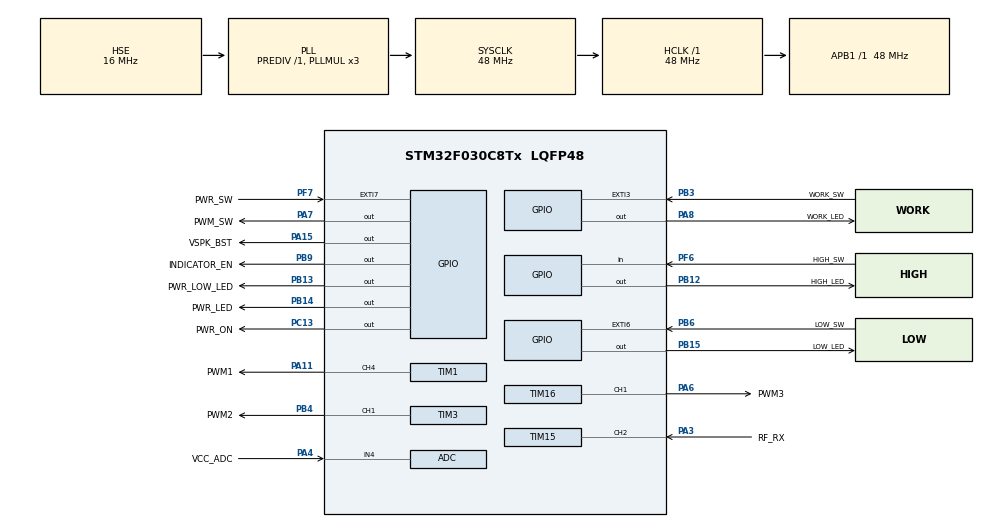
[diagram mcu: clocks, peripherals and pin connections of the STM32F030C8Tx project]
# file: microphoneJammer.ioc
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ADC.ContinuousConvMode=ENABLE
ADC.DMAContinuousRequests=ENABLE
ADC.EnableAnalogWatchDog=false
ADC.ExternalTrigConv=ADC_EXTERNALTRIGCONV_T1_TRGO
ADC.SamplingTime=ADC_SAMPLETIME_239CYCLES_5
Dma.ADC.0.Direction=DMA_PERIPH_TO_MEMORY
Dma.ADC.0.Instance=DMA1_Channel1
Dma.ADC.0.MemDataAlignment=DMA_MDATAALIGN_HALFWORD
Dma.ADC.0.MemInc=DMA_MINC_ENABLE
Dma.ADC.0.Mode=DMA_CIRCULAR
Dma.ADC.0.PeriphDataAlignment=DMA_PDATAALIGN_HALFWORD
Dma.ADC.0.PeriphInc=DMA_PINC_DISABLE
Dma.ADC.0.Priority=DMA_PRIORITY_LOW
Dma.Request0=ADC
Mcu.Family=STM32F0
Mcu.Name=STM32F030C8Tx
Mcu.Package=LQFP48
NVIC.ADC1_IRQn=true\:0\:0\:false\:false\:true\:true\:true\:true
NVIC.DMA1_Channel1_IRQn=true\:0\:0\:false\:false\:true\:false\:true\:true
NVIC.EXTI2_3_IRQn=true\:0\:0\:false\:false\:true\:true\:true\:true
NVIC.EXTI4_15_IRQn=true\:0\:0\:false\:false\:true\:true\:true\:true
NVIC.TIM14_IRQn=true\:0\:0\:false\:false\:true\:true\:true\:true
NVIC.TIM15_IRQn=true\:0\:0\:true\:false\:true\:true\:true\:true
PA11.GPIO_Label=PWM1
PA11.Signal=S_TIM1_CH4
PA13.Mode=Serial_Wire
PA13.Signal=SYS_SWDIO
PA14.Mode=Serial_Wire
PA14.Signal=SYS_SWCLK
PA15.GPIO_Label=VSPK_BST
PA15.Signal=GPIO_Output
PA3.GPIO_Label=RF_RX
PA3.Signal=S_TIM15_CH2
PA4.GPIO_Label=VCC_ADC
PA4.Mode=IN4
PA4.Signal=ADC_IN4
PA6.GPIO_Label=PWM3
PA6.Signal=S_TIM16_CH1
PA7.GPIO_Label=PWM_SW
PA7.Signal=GPIO_Output
PA8.GPIO_Label=WORK_LED
PA8.Signal=GPIO_Output
PB12.GPIO_Label=HIGH_LED
PB12.Signal=GPIO_Output
PB13.GPIO_Label=PWR_LOW_LED
PB13.Signal=GPIO_Output
PB14.GPIO_Label=PWR_LED
PB14.GPIO_PuPd=GPIO_PULLDOWN
PB14.Signal=GPIO_Output
PB15.GPIO_Label=LOW_LED
PB15.Signal=GPIO_Output
PB3.GPIO_Label=WORK_SW
PB3.GPIO_ModeDefaultEXTI=GPIO_MODE_IT_FALLING
PB3.Signal=GPXTI3
PB4.GPIO_Label=PWM2
PB4.Signal=S_TIM3_CH1
PB6.GPIO_Label=LOW_SW
PB6.GPIO_ModeDefaultEXTI=GPIO_MODE_IT_FALLING
PB6.Signal=GPXTI6
PB9.GPIO_Label=INDICATOR_EN
PB9.PinState=GPIO_PIN_RESET
PB9.Signal=GPIO_Output
PC13.GPIO_Label=PWR_ON
PC13.PinState=GPIO_PIN_RESET
PC13.Signal=GPIO_Output
PF0-OSC_IN.Mode=HSE-External-Oscillator
PF0-OSC_IN.Signal=RCC_OSC_IN
PF1-OSC_OUT.Mode=HSE-External-Oscillator
PF1-OSC_OUT.Signal=RCC_OSC_OUT
PF6.GPIO_Label=HIGH_SW
PF6.Signal=GPIO_Input
PF7.GPIO_Label=PWR_SW
PF7.GPIO_ModeDefaultEXTI=GPIO_MODE_IT_FALLING
PF7.Signal=GPXTI7
ProjectManager.HeapSize=0x200
ProjectManager.StackSize=0x400
ProjectManager.TargetToolchain=CMake
RCC.AHBFreq_Value=48000000
RCC.APB1Freq_Value=48000000
RCC.APB1TimFreq_Value=48000000
RCC.EnbaleCSS=true
RCC.HCLKFreq_Value=48000000
RCC.HSE_VALUE=16000000
RCC.PLLMUL=RCC_PLL_MUL3
RCC.PLLSourceVirtual=RCC_PLLSOURCE_HSE
RCC.SYSCLKFreq_VALUE=48000000
RCC.SYSCLKSource=RCC_SYSCLKSOURCE_PLLCLK
SH.S_TIM15_CH2.0=TIM15_CH2,Input_Capture2_from_TI2
SH.S_TIM16_CH1.0=TIM16_CH1,PWM Generation1 CH1
SH.S_TIM1_CH4.0=TIM1_CH4,PWM Generation4 CH4
SH.S_TIM3_CH1.0=TIM3_CH1,PWM Generation1 CH1
TIM1.AutoReloadPreload=TIM_AUTORELOAD_PRELOAD_ENABLE
TIM1.Channel-PWM\ Generation4\ CH4=TIM_CHANNEL_4
TIM1.Period=1442
TIM1.Prescaler=0
TIM1.Pulse-PWM\ Generation4\ CH4=721
TIM1.TIM_MasterOutputTrigger=TIM_TRGO_UPDATE
TIM14.AutoReloadPreload=TIM_AUTORELOAD_PRELOAD_ENABLE
TIM14.Period=999
TIM14.Prescaler=47
TIM15.AutoReloadPreload=TIM_AUTORELOAD_PRELOAD_ENABLE
TIM15.Channel-Input_Capture2_from_TI2=TIM_CHANNEL_2
TIM15.ICPolarity_CH2=TIM_INPUTCHANNELPOLARITY_BOTHEDGE
TIM15.Period=65535
TIM15.Prescaler=47
TIM16.AutoReloadPreload=TIM_AUTORELOAD_PRELOAD_ENABLE
TIM16.Channel=TIM_CHANNEL_1
TIM16.Period=1433
TIM16.Pulse=716
TIM3.AutoReloadPreload=TIM_AUTORELOAD_PRELOAD_ENABLE
TIM3.Channel-PWM\ Generation1\ CH1=TIM_CHANNEL_1
TIM3.OCPolarity_1=TIM_OCPOLARITY_HIGH
TIM3.Period=1438
TIM3.Pulse-PWM\ Generation1\ CH1=719
VP_TIM14_VS_ClockSourceINT.Mode=Enable_Timer
VP_TIM15_VS_ClockSourceINT.Mode=Internal
VP_TIM16_VS_ClockSourceINT.Mode=Enable_Timer
VP_TIM1_VS_ClockSourceINT.Mode=Internal
board=custom

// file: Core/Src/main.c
/* USER CODE BEGIN Header */
/**
 ******************************************************************************
 * @file           : main.c
 * @brief          : Main program body
 ******************************************************************************
 * @attention
 *
 * Copyright (c) 2026 STMicroelectronics.
 * All rights reserved.
 *
 * This software is licensed under terms that can be found in the LICENSE file
 * in the root directory of this software component.
 * If no LICENSE file comes with this software, it is provided AS-IS.
 *
 ******************************************************************************
 */
/* USER CODE END Header */
#include "main.h"

/* USER CODE BEGIN Includes */
#include <stdlib.h>
/* USER CODE END Includes */

/* USER CODE BEGIN PTD */
typedef enum { PWR_SW = 1, WORK_SW, LOW_SW, HIGH_SW, START_SW, STOP_SW } key_t;
typedef struct {
  GPIO_PinState work;
  GPIO_PinState high;
  GPIO_PinState low;
} state_t;
/* USER CODE END PTD */

/* USER CODE BEGIN PD */
#define SAMPLE_WINDOW 120

// 9v / (3.28v / 4096) * [10k / (53.6k + 10k)] ≈ 1767
#define PWR_LOW_RAW 1720       // 为了对应电量显示模块的 0%
#define PWR_LOW_RAW_SUM 206400 // PWR_LOW_RAW * SAMPLE_WINDOW
#define PWR_LOW_RAW_SUM_2                                                      \
  216400 // PWR_LOW_RAW * SAMPLE_WINDOW + 10000 为了防止反复横跳

#define EV1527_SYNC_MIN 6000       // 同步码低电平最小 (us)
#define EV1527_SYNC_MAX 20000      // 同步码低电平最大 (us)
#define EV1527_BIT_TOTAL_MIN 800   // 一个位(高+低)最小总时间 (us)
#define EV1527_BIT_TOTAL_MAX 2500  // 一个位(高+低)最大总时间 (us)
#define EV1527_FRAME_LEN 24        // 24位数据
#define PAIR_FLASH_ADDR 0x0800F800 // PAIR 在 Flash 中的地址

#define FREQ_SIZE 50

// #define TEST
/* USER CODE END PD */

ADC_HandleTypeDef hadc;
DMA_HandleTypeDef hdma_adc;

TIM_HandleTypeDef htim1;
TIM_HandleTypeDef htim3;
TIM_HandleTypeDef htim14;
TIM_HandleTypeDef htim15;
TIM_HandleTypeDef htim16;

/* USER CODE BEGIN PV */
key_t g_key = PWR_SW;
uint8_t autoSwOnce = 0;
uint32_t sysTickCnt = 0;
uint8_t blinked = 0, lastBlinked = 0;
uint8_t pwrlow = 0, pwrlow2 = 0, pwrOn = 0; // pwrlow 表示电量低
uint8_t bWorked = 0;
uint16_t adcBuf[SAMPLE_WINDOW] = {};

uint8_t g_pair = 0, g_cancelPair = 0, g_paired = 0;
state_t g_state = {0};
uint32_t g_remoteId = 0;

uint8_t pwmRun = 0;
/* USER CODE END PV */

void SystemClock_Config(void);
static void MX_GPIO_Init(void);
static void MX_DMA_Init(void);
static void MX_ADC_Init(void);
static void MX_TIM1_Init(void);
static void MX_TIM3_Init(void);
static void MX_TIM15_Init(void);
static void MX_TIM14_Init(void);
static void MX_TIM16_Init(void);
/* USER CODE BEGIN PFP */
void keyScan(void);
void stopWork(void);
void startWork(void);
uint8_t clearId();
uint32_t readId();
void recoverState();
void pwrSwitch(uint8_t bLow);
void offLeds();
void onLeds();
/* USER CODE END PFP */

int main(void) {

  /* MCU Configuration--------------------------------------------------------*/

  /* Reset of all peripherals, Initializes the Flash interface and the Systick.
   */
  HAL_Init();

  /* Configure the system clock */
  SystemClock_Config();

  /* Initialize all configured peripherals */
  MX_GPIO_Init();
  MX_DMA_Init();
  MX_ADC_Init();
  MX_TIM1_Init();
  MX_TIM3_Init();
  MX_TIM15_Init();
  MX_TIM14_Init();
  MX_TIM16_Init();
  /* USER CODE BEGIN 2 */
  g_remoteId = readId();
  if (g_remoteId != 0xFFFFFFFF) {
    g_paired = 1;
  }
  HAL_ADC_Start_DMA(&hadc, (uint32_t *)adcBuf, SAMPLE_WINDOW);
  HAL_TIM_Base_Start_IT(&htim14);
  HAL_TIM_IC_Start_IT(&htim15, TIM_CHANNEL_2);
  /* USER CODE END 2 */

  /* Infinite loop */
  /* USER CODE BEGIN WHILE */
  while (1) {
    if (pwrlow2) {
      pwrlow = 1;
      continue;
    }
    if (pwrOn && pwrlow) {
      static uint8_t bOnce;
      if (!bOnce) {
        bOnce = 1;
        blinked = 0;
        offLeds();
        HAL_GPIO_WritePin(PWR_LED_GPIO_Port, PWR_LED_Pin, GPIO_PIN_RESET);
      }
      if (pwmRun) {
        stopWork();
      }
      continue;
    }
    static uint8_t bOnce;
    if (blinked && (g_key != PWR_SW && g_key != WORK_SW && g_key != START_SW &&
                    g_key != STOP_SW)) {
      if (!bOnce) {
        bOnce = 1;
        sysTickCnt = 0;
      }
      if (sysTickCnt >= 600000) {
        HAL_GPIO_WritePin(PWR_ON_GPIO_Port, PWR_ON_Pin, GPIO_PIN_RESET);
      }
      continue;
    }
    bOnce = 0;
    keyScan();
    /* USER CODE END WHILE */

  }
}

void SystemClock_Config(void) {
  RCC_OscInitTypeDef RCC_OscInitStruct = {0};
  RCC_ClkInitTypeDef RCC_ClkInitStruct = {0};

  /** Initializes the RCC Oscillators according to the specified parameters
   * in the RCC_OscInitTypeDef structure.
   */
  RCC_OscInitStruct.OscillatorType =
      RCC_OSCILLATORTYPE_HSI14 | RCC_OSCILLATORTYPE_HSE;
  RCC_OscInitStruct.HSEState = RCC_HSE_ON;
  RCC_OscInitStruct.HSI14State = RCC_HSI14_ON;
  RCC_OscInitStruct.HSI14CalibrationValue = 16;
  RCC_OscInitStruct.PLL.PLLState = RCC_PLL_ON;
  RCC_OscInitStruct.PLL.PLLSource = RCC_PLLSOURCE_HSE;
  RCC_OscInitStruct.PLL.PLLMUL = RCC_PLL_MUL3;
  RCC_OscInitStruct.PLL.PREDIV = RCC_PREDIV_DIV1;
  if (HAL_RCC_OscConfig(&RCC_OscInitStruct) != HAL_OK) {
    Error_Handler();
  }

  /** Initializes the CPU, AHB and APB buses clocks
   */
  RCC_ClkInitStruct.ClockType =
      RCC_CLOCKTYPE_HCLK | RCC_CLOCKTYPE_SYSCLK | RCC_CLOCKTYPE_PCLK1;
  RCC_ClkInitStruct.SYSCLKSource = RCC_SYSCLKSOURCE_PLLCLK;
  RCC_ClkInitStruct.AHBCLKDivider = RCC_SYSCLK_DIV1;
  RCC_ClkInitStruct.APB1CLKDivider = RCC_HCLK_DIV1;

  if (HAL_RCC_ClockConfig(&RCC_ClkInitStruct, FLASH_LATENCY_1) != HAL_OK) {
    Error_Handler();
  }

  /** Enables the Clock Security System
   */
  HAL_RCC_EnableCSS();
}

static void MX_ADC_Init(void) {

  ADC_ChannelConfTypeDef sConfig = {0};

  /** Configure the global features of the ADC (Clock, Resolution, Data
   * Alignment and number of conversion)
   */
  hadc.Instance = ADC1;
  hadc.Init.ClockPrescaler = ADC_CLOCK_ASYNC_DIV1;
  hadc.Init.Resolution = ADC_RESOLUTION_12B;
  hadc.Init.DataAlign = ADC_DATAALIGN_RIGHT;
  hadc.Init.ScanConvMode = ADC_SCAN_DIRECTION_FORWARD;
  hadc.Init.EOCSelection = ADC_EOC_SINGLE_CONV;
  hadc.Init.LowPowerAutoWait = DISABLE;
  hadc.Init.LowPowerAutoPowerOff = DISABLE;
  hadc.Init.ContinuousConvMode = ENABLE;
  hadc.Init.DiscontinuousConvMode = DISABLE;
  hadc.Init.ExternalTrigConv = ADC_EXTERNALTRIGCONV_T1_TRGO;
  hadc.Init.ExternalTrigConvEdge = ADC_EXTERNALTRIGCONVEDGE_RISING;
  hadc.Init.DMAContinuousRequests = ENABLE;
  hadc.Init.Overrun = ADC_OVR_DATA_PRESERVED;
  if (HAL_ADC_Init(&hadc) != HAL_OK) {
    Error_Handler();
  }

  /** Configure for the selected ADC regular channel to be converted.
   */
  sConfig.Channel = ADC_CHANNEL_4;
  sConfig.Rank = ADC_RANK_CHANNEL_NUMBER;
  sConfig.SamplingTime = ADC_SAMPLETIME_239CYCLES_5;
  if (HAL_ADC_ConfigChannel(&hadc, &sConfig) != HAL_OK) {
    Error_Handler();
  }
}

static void MX_TIM1_Init(void) {

  TIM_ClockConfigTypeDef sClockSourceConfig = {0};
  TIM_MasterConfigTypeDef sMasterConfig = {0};
  TIM_OC_InitTypeDef sConfigOC = {0};
  TIM_BreakDeadTimeConfigTypeDef sBreakDeadTimeConfig = {0};

  htim1.Instance = TIM1;
  htim1.Init.Prescaler = 0;
  htim1.Init.CounterMode = TIM_COUNTERMODE_UP;
  htim1.Init.Period = 1442;
  htim1.Init.ClockDivision = TIM_CLOCKDIVISION_DIV1;
  htim1.Init.RepetitionCounter = 0;
  htim1.Init.AutoReloadPreload = TIM_AUTORELOAD_PRELOAD_ENABLE;
  if (HAL_TIM_Base_Init(&htim1) != HAL_OK) {
    Error_Handler();
  }
  sClockSourceConfig.ClockSource = TIM_CLOCKSOURCE_INTERNAL;
  if (HAL_TIM_ConfigClockSource(&htim1, &sClockSourceConfig) != HAL_OK) {
    Error_Handler();
  }
  if (HAL_TIM_PWM_Init(&htim1) != HAL_OK) {
    Error_Handler();
  }
  sMasterConfig.MasterOutputTrigger = TIM_TRGO_UPDATE;
  sMasterConfig.MasterSlaveMode = TIM_MASTERSLAVEMODE_DISABLE;
  if (HAL_TIMEx_MasterConfigSynchronization(&htim1, &sMasterConfig) != HAL_OK) {
    Error_Handler();
  }
  sConfigOC.OCMode = TIM_OCMODE_PWM1;
  sConfigOC.Pulse = 721;
  sConfigOC.OCPolarity = TIM_OCPOLARITY_HIGH;
  sConfigOC.OCFastMode = TIM_OCFAST_DISABLE;
  sConfigOC.OCIdleState = TIM_OCIDLESTATE_RESET;
  sConfigOC.OCNIdleState = TIM_OCNIDLESTATE_RESET;
  if (HAL_TIM_PWM_ConfigChannel(&htim1, &sConfigOC, TIM_CHANNEL_4) != HAL_OK) {
    Error_Handler();
  }
  sBreakDeadTimeConfig.OffStateRunMode = TIM_OSSR_DISABLE;
  sBreakDeadTimeConfig.OffStateIDLEMode = TIM_OSSI_DISABLE;
  sBreakDeadTimeConfig.LockLevel = TIM_LOCKLEVEL_OFF;
  sBreakDeadTimeConfig.DeadTime = 0;
  sBreakDeadTimeConfig.BreakState = TIM_BREAK_DISABLE;
  sBreakDeadTimeConfig.BreakPolarity = TIM_BREAKPOLARITY_HIGH;
  sBreakDeadTimeConfig.AutomaticOutput = TIM_AUTOMATICOUTPUT_DISABLE;
  if (HAL_TIMEx_ConfigBreakDeadTime(&htim1, &sBreakDeadTimeConfig) != HAL_OK) {
    Error_Handler();
  }
  HAL_TIM_MspPostInit(&htim1);
}

static void MX_TIM3_Init(void) {

  TIM_MasterConfigTypeDef sMasterConfig = {0};
  TIM_OC_InitTypeDef sConfigOC = {0};

  htim3.Instance = TIM3;
  htim3.Init.Prescaler = 0;
  htim3.Init.CounterMode = TIM_COUNTERMODE_UP;
  htim3.Init.Period = 1438;
  htim3.Init.ClockDivision = TIM_CLOCKDIVISION_DIV1;
  htim3.Init.AutoReloadPreload = TIM_AUTORELOAD_PRELOAD_ENABLE;
  if (HAL_TIM_PWM_Init(&htim3) != HAL_OK) {
    Error_Handler();
  }
  sMasterConfig.MasterOutputTrigger = TIM_TRGO_RESET;
  sMasterConfig.MasterSlaveMode = TIM_MASTERSLAVEMODE_DISABLE;
  if (HAL_TIMEx_MasterConfigSynchronization(&htim3, &sMasterConfig) != HAL_OK) {
    Error_Handler();
  }
  sConfigOC.OCMode = TIM_OCMODE_PWM1;
  sConfigOC.Pulse = 719;
  sConfigOC.OCPolarity = TIM_OCPOLARITY_HIGH;
  sConfigOC.OCFastMode = TIM_OCFAST_DISABLE;
  if (HAL_TIM_PWM_ConfigChannel(&htim3, &sConfigOC, TIM_CHANNEL_1) != HAL_OK) {
    Error_Handler();
  }
  HAL_TIM_MspPostInit(&htim3);
}

static void MX_TIM14_Init(void) {

  htim14.Instance = TIM14;
  htim14.Init.Prescaler = 47;
  htim14.Init.CounterMode = TIM_COUNTERMODE_UP;
  htim14.Init.Period = 999;
  htim14.Init.ClockDivision = TIM_CLOCKDIVISION_DIV1;
  htim14.Init.AutoReloadPreload = TIM_AUTORELOAD_PRELOAD_ENABLE;
  if (HAL_TIM_Base_Init(&htim14) != HAL_OK) {
    Error_Handler();
  }
}

static void MX_TIM15_Init(void) {

  TIM_ClockConfigTypeDef sClockSourceConfig = {0};
  TIM_MasterConfigTypeDef sMasterConfig = {0};
  TIM_IC_InitTypeDef sConfigIC = {0};

  htim15.Instance = TIM15;
  htim15.Init.Prescaler = 47;
  htim15.Init.CounterMode = TIM_COUNTERMODE_UP;
  htim15.Init.Period = 65535;
  htim15.Init.ClockDivision = TIM_CLOCKDIVISION_DIV1;
  htim15.Init.RepetitionCounter = 0;
  htim15.Init.AutoReloadPreload = TIM_AUTORELOAD_PRELOAD_ENABLE;
  if (HAL_TIM_Base_Init(&htim15) != HAL_OK) {
    Error_Handler();
  }
  sClockSourceConfig.ClockSource = TIM_CLOCKSOURCE_INTERNAL;
  if (HAL_TIM_ConfigClockSource(&htim15, &sClockSourceConfig) != HAL_OK) {
    Error_Handler();
  }
  if (HAL_TIM_IC_Init(&htim15) != HAL_OK) {
    Error_Handler();
  }
  sMasterConfig.MasterOutputTrigger = TIM_TRGO_RESET;
  sMasterConfig.MasterSlaveMode = TIM_MASTERSLAVEMODE_DISABLE;
  if (HAL_TIMEx_MasterConfigSynchronization(&htim15, &sMasterConfig) !=
      HAL_OK) {
    Error_Handler();
  }
  sConfigIC.ICPolarity = TIM_INPUTCHANNELPOLARITY_BOTHEDGE;
  sConfigIC.ICSelection = TIM_ICSELECTION_DIRECTTI;
  sConfigIC.ICPrescaler = TIM_ICPSC_DIV1;
  sConfigIC.ICFilter = 0;
  if (HAL_TIM_IC_ConfigChannel(&htim15, &sConfigIC, TIM_CHANNEL_2) != HAL_OK) {
    Error_Handler();
  }
}

static void MX_TIM16_Init(void) {

  TIM_OC_InitTypeDef sConfigOC = {0};
  TIM_BreakDeadTimeConfigTypeDef sBreakDeadTimeConfig = {0};

  htim16.Instance = TIM16;
  htim16.Init.Prescaler = 0;
  htim16.Init.CounterMode = TIM_COUNTERMODE_UP;
  htim16.Init.Period = 1433;
  htim16.Init.ClockDivision = TIM_CLOCKDIVISION_DIV1;
  htim16.Init.RepetitionCounter = 0;
  htim16.Init.AutoReloadPreload = TIM_AUTORELOAD_PRELOAD_ENABLE;
  if (HAL_TIM_Base_Init(&htim16) != HAL_OK) {
    Error_Handler();
  }
  if (HAL_TIM_PWM_Init(&htim16) != HAL_OK) {
    Error_Handler();
  }
  sConfigOC.OCMode = TIM_OCMODE_PWM1;
  sConfigOC.Pulse = 716;
  sConfigOC.OCPolarity = TIM_OCPOLARITY_HIGH;
  sConfigOC.OCNPolarity = TIM_OCNPOLARITY_HIGH;
  sConfigOC.OCFastMode = TIM_OCFAST_DISABLE;
  sConfigOC.OCIdleState = TIM_OCIDLESTATE_RESET;
  sConfigOC.OCNIdleState = TIM_OCNIDLESTATE_RESET;
  if (HAL_TIM_PWM_ConfigChannel(&htim16, &sConfigOC, TIM_CHANNEL_1) != HAL_OK) {
    Error_Handler();
  }
  sBreakDeadTimeConfig.OffStateRunMode = TIM_OSSR_DISABLE;
  sBreakDeadTimeConfig.OffStateIDLEMode = TIM_OSSI_DISABLE;
  sBreakDeadTimeConfig.LockLevel = TIM_LOCKLEVEL_OFF;
  sBreakDeadTimeConfig.DeadTime = 0;
  sBreakDeadTimeConfig.BreakState = TIM_BREAK_DISABLE;
  sBreakDeadTimeConfig.BreakPolarity = TIM_BREAKPOLARITY_HIGH;
  sBreakDeadTimeConfig.AutomaticOutput = TIM_AUTOMATICOUTPUT_DISABLE;
  if (HAL_TIMEx_ConfigBreakDeadTime(&htim16, &sBreakDeadTimeConfig) != HAL_OK) {
    Error_Handler();
  }
  HAL_TIM_MspPostInit(&htim16);
}

static void MX_DMA_Init(void) {

  /* DMA controller clock enable */
  __HAL_RCC_DMA1_CLK_ENABLE();

  /* DMA interrupt init */
  /* DMA1_Channel1_IRQn interrupt configuration */
  HAL_NVIC_SetPriority(DMA1_Channel1_IRQn, 0, 0);
  HAL_NVIC_EnableIRQ(DMA1_Channel1_IRQn);
}

static void MX_GPIO_Init(void) {
  GPIO_InitTypeDef GPIO_InitStruct = {0};

  /* GPIO Ports Clock Enable */
  __HAL_RCC_GPIOC_CLK_ENABLE();
  __HAL_RCC_GPIOF_CLK_ENABLE();
  __HAL_RCC_GPIOA_CLK_ENABLE();
  __HAL_RCC_GPIOB_CLK_ENABLE();

  /*Configure GPIO pin Output Level */
  HAL_GPIO_WritePin(PWR_ON_GPIO_Port, PWR_ON_Pin, GPIO_PIN_RESET);

  /*Configure GPIO pin Output Level */
  HAL_GPIO_WritePin(GPIOA, PWM_SW_Pin | WORK_LED_Pin | VSPK_BST_Pin,
                    GPIO_PIN_RESET);

  /*Configure GPIO pin Output Level */
  HAL_GPIO_WritePin(GPIOB,
                    HIGH_LED_Pin | PWR_LOW_LED_Pin | PWR_LED_Pin | LOW_LED_Pin |
                        INDICATOR_EN_Pin,
                    GPIO_PIN_RESET);

  /*Configure GPIO pin : PWR_ON_Pin */
  GPIO_InitStruct.Pin = PWR_ON_Pin;
  GPIO_InitStruct.Mode = GPIO_MODE_OUTPUT_PP;
  GPIO_InitStruct.Pull = GPIO_NOPULL;
  GPIO_InitStruct.Speed = GPIO_SPEED_FREQ_LOW;
  HAL_GPIO_Init(PWR_ON_GPIO_Port, &GPIO_InitStruct);

  /*Configure GPIO pins : PWM_SW_Pin WORK_LED_Pin VSPK_BST_Pin */
  GPIO_InitStruct.Pin = PWM_SW_Pin | WORK_LED_Pin | VSPK_BST_Pin;
  GPIO_InitStruct.Mode = GPIO_MODE_OUTPUT_PP;
  GPIO_InitStruct.Pull = GPIO_NOPULL;
  GPIO_InitStruct.Speed = GPIO_SPEED_FREQ_LOW;
  HAL_GPIO_Init(GPIOA, &GPIO_InitStruct);

  /*Configure GPIO pins : HIGH_LED_Pin PWR_LOW_LED_Pin LOW_LED_Pin
   * INDICATOR_EN_Pin */
  GPIO_InitStruct.Pin =
      HIGH_LED_Pin | PWR_LOW_LED_Pin | LOW_LED_Pin | INDICATOR_EN_Pin;
  GPIO_InitStruct.Mode = GPIO_MODE_OUTPUT_PP;
  GPIO_InitStruct.Pull = GPIO_NOPULL;
  GPIO_InitStruct.Speed = GPIO_SPEED_FREQ_LOW;
  HAL_GPIO_Init(GPIOB, &GPIO_InitStruct);

  /*Configure GPIO pin : PWR_LED_Pin */
  GPIO_InitStruct.Pin = PWR_LED_Pin;
  GPIO_InitStruct.Mode = GPIO_MODE_OUTPUT_PP;
  GPIO_InitStruct.Pull = GPIO_PULLDOWN;
  GPIO_InitStruct.Speed = GPIO_SPEED_FREQ_LOW;
  HAL_GPIO_Init(PWR_LED_GPIO_Port, &GPIO_InitStruct);

  /*Configure GPIO pin : HIGH_SW_Pin */
  GPIO_InitStruct.Pin = HIGH_SW_Pin;
  GPIO_InitStruct.Mode = GPIO_MODE_INPUT;
  GPIO_InitStruct.Pull = GPIO_NOPULL;
  HAL_GPIO_Init(HIGH_SW_GPIO_Port, &GPIO_InitStruct);

  /*Configure GPIO pin : PWR_SW_Pin */
  GPIO_InitStruct.Pin = PWR_SW_Pin;
  GPIO_InitStruct.Mode = GPIO_MODE_IT_FALLING;
  GPIO_InitStruct.Pull = GPIO_NOPULL;
  HAL_GPIO_Init(PWR_SW_GPIO_Port, &GPIO_InitStruct);

  /*Configure GPIO pins : WORK_SW_Pin LOW_SW_Pin */
  GPIO_InitStruct.Pin = WORK_SW_Pin | LOW_SW_Pin;
  GPIO_InitStruct.Mode = GPIO_MODE_IT_FALLING;
  GPIO_InitStruct.Pull = GPIO_NOPULL;
  HAL_GPIO_Init(GPIOB, &GPIO_InitStruct);

  /* EXTI interrupt init*/
  HAL_NVIC_SetPriority(EXTI2_3_IRQn, 0, 0);
  HAL_NVIC_EnableIRQ(EXTI2_3_IRQn);

  HAL_NVIC_SetPriority(EXTI4_15_IRQn, 0, 0);
  HAL_NVIC_EnableIRQ(EXTI4_15_IRQn);

}

/* USER CODE BEGIN 4 */

typedef struct {
  key_t key;
  void (*shortFn)(void);
  void (*longFn)(void);
  uint16_t longMs;
} keyMap_t;

static void pwrLong(void) {
  if (!pwrOn) {
    pwrOn = 1;
    blinked = !pwrlow2;
    g_state.low = GPIO_PIN_SET;
    HAL_GPIO_WritePin(PWR_ON_GPIO_Port, PWR_ON_Pin, GPIO_PIN_SET);
    HAL_GPIO_WritePin(INDICATOR_EN_GPIO_Port, INDICATOR_EN_Pin, GPIO_PIN_SET);
  } else {
    pwrOn = 0;
    blinked = 0;
    HAL_GPIO_WritePin(PWR_ON_GPIO_Port, PWR_ON_Pin, GPIO_PIN_RESET);
    g_state.work = g_state.high = g_state.low = GPIO_PIN_RESET;
    offLeds();
    HAL_GPIO_WritePin(PWR_LED_GPIO_Port, PWR_LED_Pin, GPIO_PIN_RESET);
  }
}

static void workShort(void) {
  if (!pwrOn || pwrlow2) {
    return;
  }
  if (blinked) {
    blinked = 0;
    g_state.work = GPIO_PIN_SET;
    onLeds();
    startWork();
  } else {
    blinked = 1;
    g_state.work = GPIO_PIN_RESET;
    offLeds();
    stopWork();
  }
}

static void lowShort(void) {
  g_state.low = GPIO_PIN_SET;
  g_state.high = GPIO_PIN_RESET;
  pwrSwitch(1);
}

static void lowLong(void) {
  g_cancelPair = 1;
  g_paired = 0;
  clearId();
}

static void highShort(void) {
  g_state.high = GPIO_PIN_SET;
  g_state.low = GPIO_PIN_RESET;
  pwrSwitch(0);
}

static void highLong(void) { g_pair = 1; }

const keyMap_t keyTable[] = {
    {PWR_SW, NULL, pwrLong, 1000},
    {WORK_SW, workShort, NULL, 0},
    {LOW_SW, lowShort, lowLong, 1000},
    {HIGH_SW, highShort, highLong, 1000},
};
#define KEY_NUM (sizeof(keyTable) / sizeof(keyTable[0]))

void keyScan(void) {
  if (HAL_GPIO_ReadPin(HIGH_SW_GPIO_Port, HIGH_SW_Pin) == GPIO_PIN_RESET) {
    g_key = HIGH_SW;
  }
  if (g_pair || g_cancelPair || !g_key) {
    g_key = 0;
    return;
  }
  key_t key = g_key;
  g_key = 0;
  if (key == START_SW || key == STOP_SW) {
    if (!pwrOn || pwrlow2) {
      return;
    }
    if (key == START_SW) {
      if (blinked) {
        blinked = 0;
        g_state.work = GPIO_PIN_SET;
        onLeds();
        startWork();
      }
    } else if (key == STOP_SW) {
      if (!blinked) {
        blinked = 1;
        g_state.work = GPIO_PIN_RESET;
        offLeds();
        stopWork();
      }
    }
    return;
  }
  for (uint8_t i = 0; i < KEY_NUM; i++) {
    if (keyTable[i].key != key) {
      continue;
    }

    if (keyTable[i].longFn != NULL) {
      sysTickCnt = 0;
      uint8_t isLong = 0;
      GPIO_TypeDef *port = NULL;
      uint16_t pin = 0;

      switch (key) {
      case PWR_SW:
        port = PWR_SW_GPIO_Port;
        pin = PWR_SW_Pin;
        break;
      case LOW_SW:
        port = LOW_SW_GPIO_Port;
        pin = LOW_SW_Pin;
        break;
      case HIGH_SW:
        port = HIGH_SW_GPIO_Port;
        pin = HIGH_SW_Pin;
        break;
      default:
        break;
      }

      while (HAL_GPIO_ReadPin(port, pin) == GPIO_PIN_RESET) {
        if (sysTickCnt >= keyTable[i].longMs) {
          keyTable[i].longFn();
          isLong = 1;
          while (HAL_GPIO_ReadPin(port, pin) == GPIO_PIN_RESET)
            ;
          break;
        }
      }
      if (isLong) {
        break;
      }
    }
    if (keyTable[i].shortFn != NULL) {
      keyTable[i].shortFn();
    }
    break;
  }
}

void HAL_GPIO_EXTI_Callback(uint16_t GPIO_Pin) {
  switch (GPIO_Pin) {
  case PWR_SW_Pin:
    g_key = PWR_SW;
    break;
  case WORK_SW_Pin:
    g_key = WORK_SW;
    break;
  case LOW_SW_Pin:
    g_key = LOW_SW;
    break;
  default:
    break;
  }
}

void HAL_ADC_ConvCpltCallback(ADC_HandleTypeDef *hadc) {
  if (hadc->Instance == ADC1) {
    uint32_t voltSum = 0;
    for (uint16_t i = 0; i < SAMPLE_WINDOW; i++) {
      voltSum += adcBuf[i];
    }
#ifndef TEST
    static uint8_t bOnce;
    if (!bOnce) {
      bOnce = 1;
      if (voltSum < PWR_LOW_RAW_SUM_2) {
        pwrlow2 = 1;
      }
    }
    if (voltSum < PWR_LOW_RAW_SUM) {
      pwrlow = 1;
      return;
    }
#endif // !TEST
  }
}

void HAL_TIM_PeriodElapsedCallback(TIM_HandleTypeDef *htim) {
  switch ((uint32_t)htim->Instance) {
  case (uint32_t)TIM14:
    sysTickCnt++;
    static uint16_t led_cnt;
    if (++led_cnt >= 500) {
      led_cnt = 0;
      if (pwrlow && pwrOn) {
        static uint8_t off;
        if (off++ > 8) {
          off = 0;
          HAL_GPIO_WritePin(PWR_ON_GPIO_Port, PWR_ON_Pin, GPIO_PIN_RESET);
        }
        HAL_GPIO_TogglePin(PWR_LOW_LED_GPIO_Port, PWR_LOW_LED_Pin);
        break;
      }
      if (blinked) {
        HAL_GPIO_TogglePin(PWR_LED_GPIO_Port, PWR_LED_Pin);
      }
      static uint32_t pairTick;
      if (g_pair) {
        HAL_GPIO_TogglePin(HIGH_LED_GPIO_Port, HIGH_LED_Pin);
        static uint8_t bOnce;
        if (!bOnce) {
          bOnce = 1;
          pairTick = sysTickCnt;
        }
        if (sysTickCnt - pairTick >= 5000) {
          g_pair = 0;
          bOnce = 0;
          HAL_GPIO_WritePin(HIGH_LED_GPIO_Port, HIGH_LED_Pin, g_state.high);
        }
      } else if (g_cancelPair) {
        HAL_GPIO_TogglePin(LOW_LED_GPIO_Port, LOW_LED_Pin);
        static uint8_t bOnce;
        if (!bOnce) {
          bOnce = 1;
          pairTick = sysTickCnt;
        }
        if (sysTickCnt - pairTick >= 2000) {
          g_cancelPair = 0;
          bOnce = 0;
          HAL_GPIO_WritePin(LOW_LED_GPIO_Port, LOW_LED_Pin, g_state.low);
        }
      }
    }
    break;
  default:
    break;
  }
}

/* USER CODE BEGIN 4 */
uint8_t saveId(uint32_t id) {
  if (HAL_FLASH_Unlock() != HAL_OK) {
    return 0;
  }
  HAL_StatusTypeDef status = HAL_OK;
  do {
    FLASH_EraseInitTypeDef erase;
    erase.TypeErase = FLASH_TYPEERASE_PAGES;
    erase.PageAddress = PAIR_FLASH_ADDR;
    erase.NbPages = 1;
    uint32_t err;
    if ((status = HAL_FLASHEx_Erase(&erase, &err)) != HAL_OK) {
      break;
    }
    status = HAL_FLASH_Program(FLASH_TYPEPROGRAM_WORD, PAIR_FLASH_ADDR, id);
  } while (0);
  HAL_FLASH_Lock();
  return status == HAL_OK;
}
uint8_t clearId() { return saveId(0xFFFFFFFF); }
uint32_t readId() { return *(uint32_t *)PAIR_FLASH_ADDR; }
void HAL_TIM_IC_CaptureCallback(TIM_HandleTypeDef *htim) {
  if (htim->Instance == TIM15) {
    static uint32_t frameBuf[3];
    static uint8_t frameIdx;
    static uint32_t high, low, decodeState, bitCnt, tempBuf, lastCnt;
    uint32_t currCnt = HAL_TIM_ReadCapturedValue(htim, TIM_CHANNEL_2);
    uint32_t diff = currCnt >= lastCnt ? (currCnt - lastCnt)
                                       : (65535 - lastCnt + currCnt + 1);
    lastCnt = currCnt;
    if (HAL_GPIO_ReadPin(GPIOA, GPIO_PIN_3) == GPIO_PIN_RESET) {
      high = diff;
    } else {
      low = diff;
      if (low >= EV1527_SYNC_MIN && low <= EV1527_SYNC_MAX) {
        decodeState = 1;
        bitCnt = 0;
        tempBuf = 0;
        return;
      }
      if (decodeState == 1) {
        uint32_t bitTime = high + low;
        if (bitTime < EV1527_BIT_TOTAL_MIN || bitTime > EV1527_BIT_TOTAL_MAX) {
          decodeState = 0;
          frameIdx = 0;
          return;
        }
        tempBuf <<= 1;
        if (high > (low * 1.5)) {
          tempBuf |= 1;
        }
        bitCnt++;
        if (bitCnt >= EV1527_FRAME_LEN) {
          static uint32_t lastTick, debounceTick;
          uint32_t now = HAL_GetTick();
          uint32_t data = 0;
          frameBuf[frameIdx++] = tempBuf;

          for (uint8_t i = 0; i < frameIdx; i++) {
            for (uint8_t j = i + 1; j < frameIdx; j++) {
              if (frameBuf[i] == frameBuf[j]) {
                data = frameBuf[i];
                break;
              }
            }
            if (data) {
              break;
            }
          }
          if (frameIdx >= 3) {
            frameIdx = 0;
          }
          if (data && (now - lastTick < 200)) {
            frameIdx = 0;
            uint32_t id = data >> 4;
            uint8_t btn = data & 0x0F;

            if (g_pair) {
              g_pair = 0;
              saveId(id);
              g_paired = 1;
              g_remoteId = id;
              HAL_GPIO_WritePin(HIGH_LED_GPIO_Port, HIGH_LED_Pin, g_state.high);
              return;
            }
            if (g_paired && id != g_remoteId) {
              return;
            }
            if (now - debounceTick < 100) {
              return;
            }
            debounceTick = now;
            switch (btn) {
            case 0x01:
              g_key = START_SW;
              break;
            case 0x02:
              g_key = LOW_SW;
              break;
            case 0x04:
              g_key = HIGH_SW;
              break;
            case 0x08:
              g_key = STOP_SW;
              break;
            default:
              break;
            }
          }
          lastTick = now;
          decodeState = 0;
          bitCnt = 0;
        }
      }
    }
  }
}

void stopWork(void) {
  HAL_GPIO_WritePin(PWM_SW_GPIO_Port, PWM_SW_Pin, GPIO_PIN_RESET);
  HAL_Delay(100);
  HAL_TIM_PWM_Stop(&htim1, TIM_CHANNEL_4);
  HAL_TIM_PWM_Stop(&htim3, TIM_CHANNEL_1);
  HAL_TIM_PWM_Stop(&htim16, TIM_CHANNEL_1);
  pwmRun = 0;
}

void startWork(void) {
  HAL_TIM_MspPostInit(&htim1);
  HAL_TIM_PWM_Start(&htim1, TIM_CHANNEL_4);
  HAL_TIM_MspPostInit(&htim3);
  HAL_TIM_PWM_Start(&htim3, TIM_CHANNEL_1);
  HAL_TIM_MspPostInit(&htim16);
  HAL_TIM_PWM_Start(&htim16, TIM_CHANNEL_1);
  HAL_Delay(100);
  HAL_GPIO_WritePin(PWM_SW_GPIO_Port, PWM_SW_Pin, GPIO_PIN_SET);
  pwmRun = 1;
}

void pwrSwitch(uint8_t bLow) {
  if (bLow) {
    HAL_GPIO_WritePin(VSPK_BST_GPIO_Port, VSPK_BST_Pin, GPIO_PIN_RESET);
    HAL_GPIO_WritePin(LOW_LED_GPIO_Port, LOW_LED_Pin, GPIO_PIN_SET);
    HAL_GPIO_WritePin(HIGH_LED_GPIO_Port, HIGH_LED_Pin, GPIO_PIN_RESET);
  } else {
    HAL_GPIO_WritePin(VSPK_BST_GPIO_Port, VSPK_BST_Pin, GPIO_PIN_SET);
    HAL_GPIO_WritePin(HIGH_LED_GPIO_Port, HIGH_LED_Pin, GPIO_PIN_SET);
    HAL_GPIO_WritePin(LOW_LED_GPIO_Port, LOW_LED_Pin, GPIO_PIN_RESET);
  }
}

void offLeds() {
  HAL_GPIO_WritePin(PWR_LED_GPIO_Port, PWR_LED_Pin, GPIO_PIN_RESET);
  HAL_GPIO_WritePin(WORK_LED_GPIO_Port, WORK_LED_Pin, GPIO_PIN_RESET);
  HAL_GPIO_WritePin(HIGH_LED_GPIO_Port, HIGH_LED_Pin, GPIO_PIN_RESET);
  HAL_GPIO_WritePin(LOW_LED_GPIO_Port, LOW_LED_Pin, GPIO_PIN_RESET);
}

void onLeds() {
  HAL_GPIO_WritePin(PWR_LED_GPIO_Port, PWR_LED_Pin, GPIO_PIN_SET);
  HAL_GPIO_WritePin(WORK_LED_GPIO_Port, WORK_LED_Pin, g_state.work);
  HAL_GPIO_WritePin(HIGH_LED_GPIO_Port, HIGH_LED_Pin, g_state.high);
  HAL_GPIO_WritePin(LOW_LED_GPIO_Port, LOW_LED_Pin, g_state.low);
}
/* USER CODE END 4 */

void Error_Handler(void) {
  __disable_irq();
  while (1) {
  }
}
#ifdef USE_FULL_ASSERT
/**
 * @brief  Reports the name of the source file and the source line number
 *         where the assert_param error has occurred.
 * @param  file: pointer to the source file name
 * @param  line: assert_param error line source number
 * @retval None
 */
void assert_failed(uint8_t *file, uint32_t line) {
  /* USER CODE BEGIN 6 */
  /* User can add his own implementation to report the file name and line
     number, ex: printf("Wrong parameters value: file %s on line %d\r\n", file,
     line) */
  /* USER CODE END 6 */
}
#endif /* USE_FULL_ASSERT */
